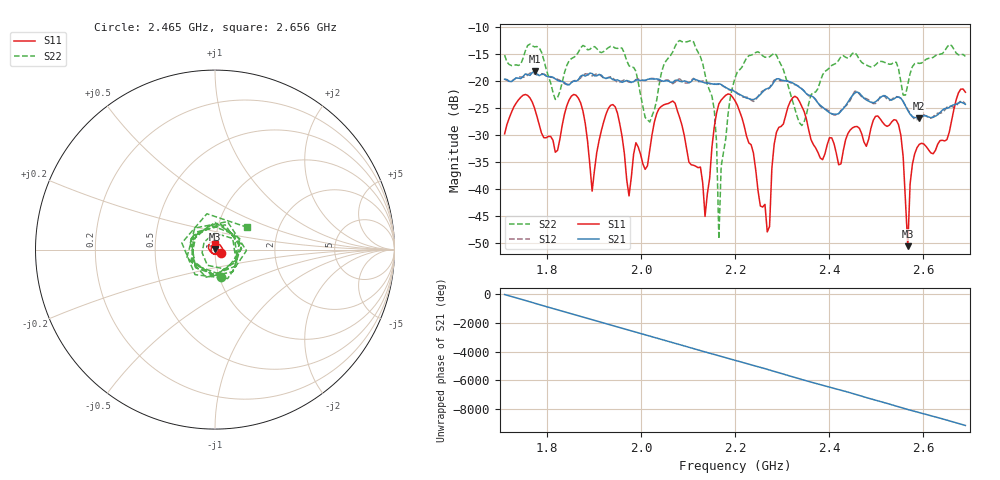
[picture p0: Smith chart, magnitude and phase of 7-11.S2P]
!Agilent Technologies,E5061B,MY49305579,A.02.22
!Date: Thu Aug 24 16:26:31 2017
!Data & Calibration Information:
!Freq	S11:SOLT2(ON)	S21:SOLT2(ON)	S12:SOLT2(ON)	S22:SOLT2(ON)
# Hz S dB R 50
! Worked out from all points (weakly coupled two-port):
!   201 points, 1.71 GHz to 2.69 GHz, reference 50 ohm
!   highest |S21| = -18.20 dB at 1.774 GHz (marker M1); lowest = -26.9 dB at 2.592 GHz (marker M2)
!   lowest |S11| = -50.6 dB at 2.567 GHz (marker M3), VSWR 1.01, Z = 50.2 + j0.252 ohm
!   |S11| at or under -10 dB: start of sweep to end of sweep
!   |S22| runs from -49.2 to -12.5 dB; largest |S21 - S12| = 0.0075
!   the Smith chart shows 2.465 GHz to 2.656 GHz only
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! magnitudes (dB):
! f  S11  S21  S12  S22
! 1.71 GHz  -29.8  -19.7  -19.7  -15.2
! 1.774 GHz  -25.1  -18.2  -18.7  -13.7
! 1.818 GHz  -33.2  -19.6  -19.6  -23.5
! 1.877 GHz  -25.6  -18.9  -19.0  -13.5
! 1.896 GHz  -40.4  -18.7  -19.1  -13.8
! 1.945 GHz  -24.8  -19.9  -20.0  -13.9
! 1.975 GHz  -41.3  -20.1  -20.2  -17.2
! 2.038 GHz  -25.2  -19.7  -19.9  -20.9
! 2.127 GHz  -35.9  -20.1  -20.2  -15.6
! 2.136 GHz  -45.1  -20.4  -20.1  -18.8
! 2.156 GHz  -28.5  -20.6  -20.6  -25.3
! 2.166 GHz  -24.3  -20.5  -20.6  -49.2
! 2.171 GHz  -23.6  -20.7  -20.8  -35.8
! 2.2 GHz  -23.7  -22.0  -21.9  -19.5
! 2.269 GHz  -47.9  -21.4  -21.7  -15.7
! 2.318 GHz  -23.8  -20.2  -20.3  -22.3
! 2.367 GHz  -31.8  -23.0  -23.0  -22.1
! 2.528 GHz  -28.2  -23.4  -23.6  -16.9
! 2.553 GHz  -30.1  -23.2  -23.3  -20.3
! 2.567 GHz  -50.6  -25.5  -25.4  -20.7
! 2.592 GHz  -31.7  -26.9  -26.8  -16.8
! 2.69 GHz  -22.1  -24.3  -24.2  -15.5
